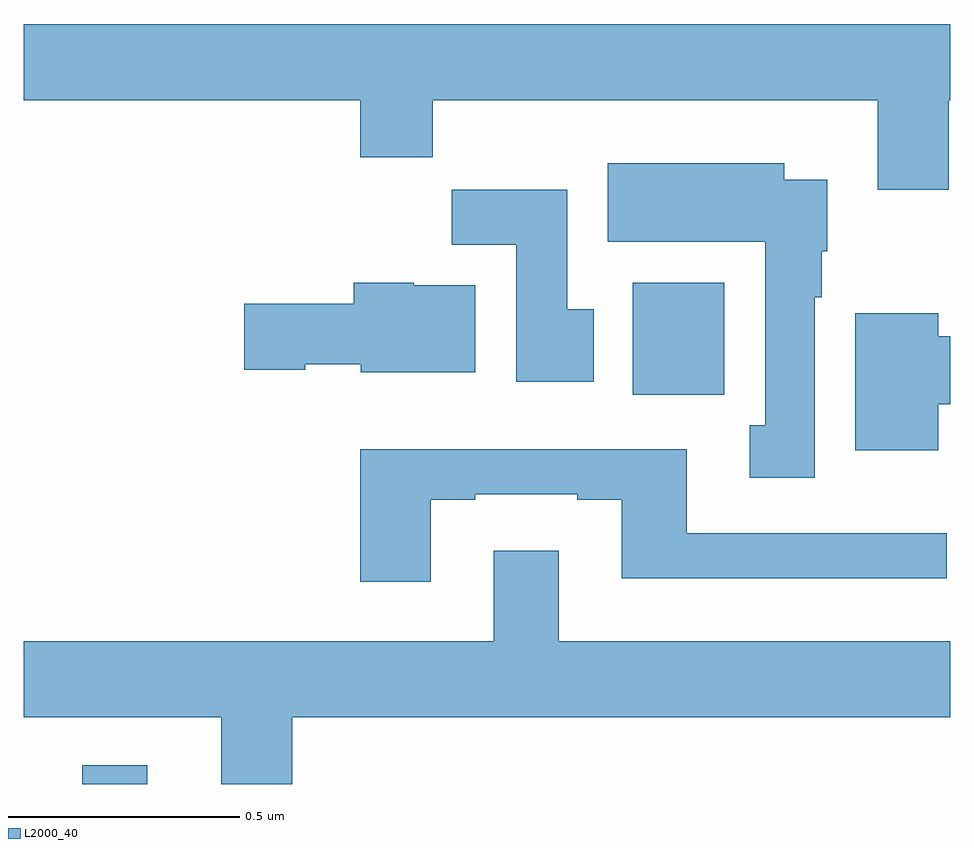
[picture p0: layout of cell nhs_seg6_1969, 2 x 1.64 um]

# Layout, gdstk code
import gdstk
lib = gdstk.Library(unit=1e-6, precision=1e-09)
def R(c, l, rs):  # rectangles x0, y0, x1, y1
    for r in rs: c.add(gdstk.rectangle(r[:2], r[2:], *l))
def P(c, l, *ps):  # polygons
    for p in ps: c.add(gdstk.Polygon(p, *l))
L2000_40 = (2000, 40)

nhs_seg6_1969 = lib.new_cell('nhs_seg6_1969')
R(nhs_seg6_1969, L2000_40, [(136.127,972.5,136.267,972.541), (137.315,973.34,137.512,973.582)])
P(nhs_seg6_1969, L2000_40, [(137.996,973.976),(138,973.976),(138,974.14),(136,974.14),(136,973.976),(136.727,973.976),(136.727,973.852),(136.883,973.852),(136.883,973.976),(137.843,973.976),(137.843,973.782),(137.996,973.782)],
  [(137.707,973.55),(137.722,973.55),(137.722,973.65),(137.734,973.65),(137.734,973.804),(137.641,973.804),(137.641,973.84),(137.261,973.84),(137.261,973.67),(137.6,973.67),(137.6,973.274),(137.567,973.274),(137.567,973.161),(137.707,973.161)],
  [(137.23,973.524),(137.173,973.524),(137.173,973.782),(136.924,973.782),(136.924,973.664),(137.063,973.664),(137.063,973.368),(137.23,973.368)],
  [(136.975,973.576),(136.842,973.576),(136.842,973.582),(136.712,973.582),(136.712,973.536),(136.476,973.536),(136.476,973.394),(136.608,973.394),(136.608,973.406),(136.728,973.406),(136.728,973.388),(136.975,973.388)],
  [(137.974,973.319),(138,973.319),(138,973.466),(137.974,973.466),(137.974,973.516),(137.795,973.516),(137.795,973.22),(137.974,973.22)],
  [(136.879,973.113),(136.975,973.113),(136.975,973.125),(137.195,973.125),(137.195,973.113),(137.291,973.113),(137.291,972.944),(137.992,972.944),(137.992,973.041),(137.431,973.041),(137.431,973.222),(136.727,973.222),(136.727,972.936),(136.879,972.936)],
  [(136.58,972.644),(138,972.644),(138,972.808),(137.155,972.808),(137.155,973.003),(137.015,973.003),(137.015,972.808),(136,972.808),(136,972.644),(136.427,972.644),(136.427,972.5),(136.58,972.5)])

lib.write_gds('nhs_seg6_1969.gds')
